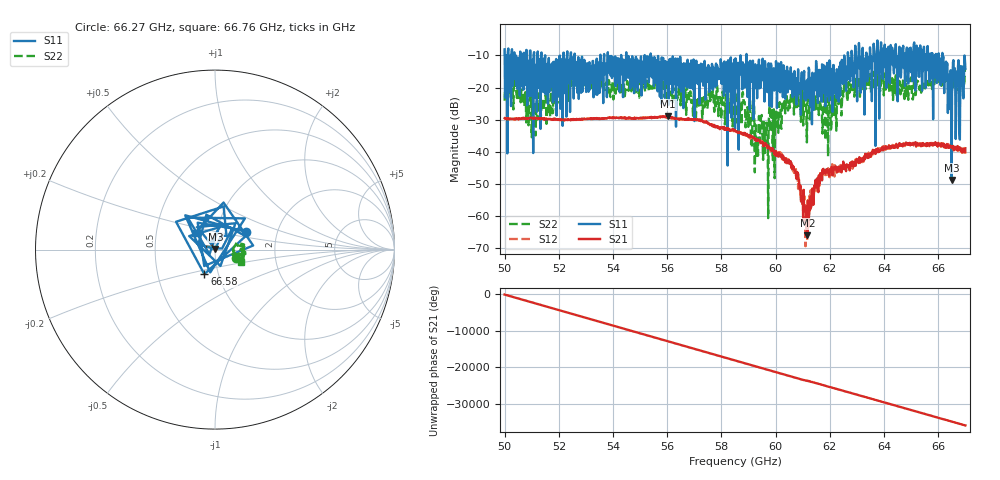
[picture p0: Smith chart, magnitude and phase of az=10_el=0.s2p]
!Created with skrf (http://scikit-rf.org).
# GHz S RI R 50.0
!freq ReS11 ImS11 ReS21 ImS21 ReS12 ImS12 ReS22 ImS22
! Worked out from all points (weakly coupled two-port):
!   1001 points, 50 GHz to 67 GHz, reference 50 ohm
!   highest |S21| = -29.02 dB at 56.03 GHz (marker M1); lowest = -66.0 dB at 61.17 GHz (marker M2)
!   lowest |S11| = -48.8 dB at 66.49 GHz (marker M3), VSWR 1.01, Z = 50.2 + j0.304 ohm
!   |S11| at or under -10 dB: 52.58 GHz to 53.53 GHz (949 MHz wide, 1.79 % of centre); 55.39 GHz to 58.7 GHz (3.313 GHz wide, 5.81 % of centre); 58.93 GHz to 62.66 GHz (3.735 GHz wide, 6.14 % of centre) (the widest 3 of 64)
!   |S22| runs from -60.7 to -13.3 dB; largest |S21 - S12| = 0.0023
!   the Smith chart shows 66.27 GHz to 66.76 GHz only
!   S11 on the Smith chart (normalised r, x): 66.27 GHz: 1.38, +0.28; 66.58 GHz: 0.86, -0.24; 66.76 GHz: 0.79, +0.15
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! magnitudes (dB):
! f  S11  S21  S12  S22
! 50 GHz  -8.1  -29.6  -29.6  -24.1
! 50.15 GHz  -21.5  -29.9  -29.7  -20.7
! 51.07 GHz  -9.9  -29.4  -29.6  -26.2
! 52.84 GHz  -12.0  -29.8  -29.8  -19.8
! 55.68 GHz  -13.1  -29.3  -29.1  -21.2
! 56.03 GHz  -12.1  -29.0  -29.1  -18.9
! 58.5 GHz  -32.9  -33.3  -33.6  -24.0
! 59.64 GHz  -18.2  -37.9  -37.9  -33.6
! 59.84 GHz  -13.4  -39.5  -39.3  -26.4
! 60.52 GHz  -19.9  -43.7  -43.1  -26.3
! 61.17 GHz  -17.7  -66.0  -67.6  -25.7
! 61.34 GHz  -31.5  -54.2  -56.2  -26.3
! 61.81 GHz  -19.4  -46.4  -45.3  -26.8
! 62.61 GHz  -16.3  -43.9  -44.7  -19.6
! 64.18 GHz  -11.9  -38.0  -38.6  -17.5
! 66.27 GHz  -14.1  -38.3  -38.5  -18.0
! 66.44 GHz  -20.3  -38.0  -38.5  -16.3
! 66.49 GHz  -48.8  -38.4  -38.6  -15.3
! 66.58 GHz  -16.5  -39.6  -38.5  -15.8
! 66.76 GHz  -16.8  -38.6  -40.1  -15.9
! 66.86 GHz  -18.5  -39.7  -40.4  -16.3
! 67 GHz  -14.1  -38.9  -40.6  -14.2
